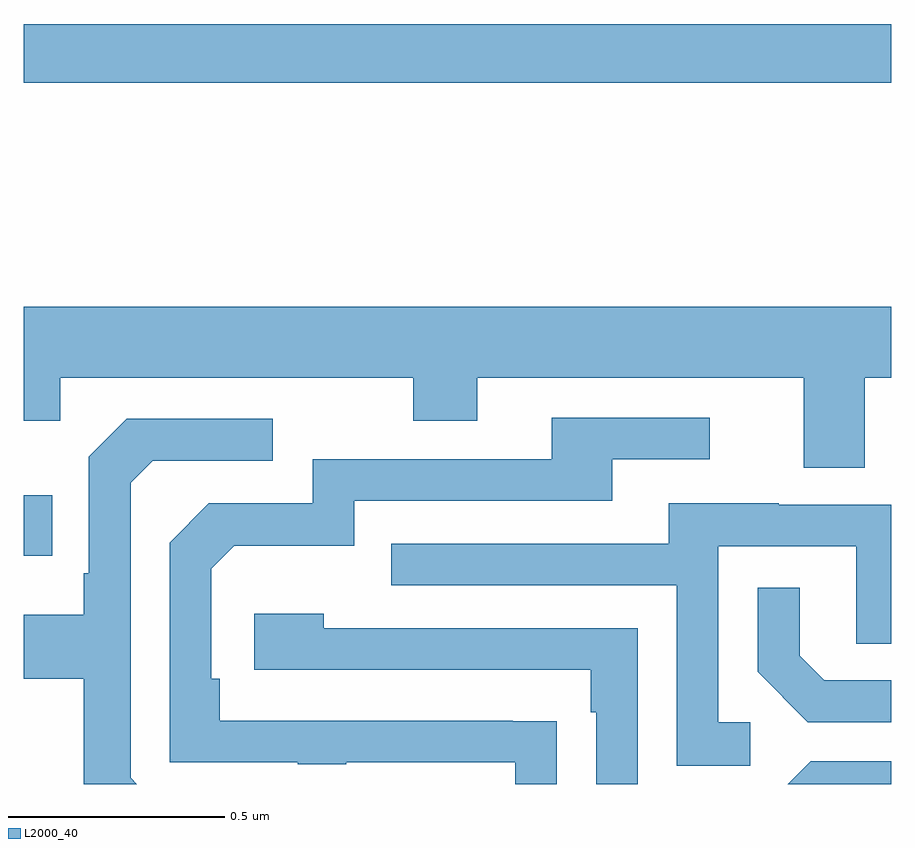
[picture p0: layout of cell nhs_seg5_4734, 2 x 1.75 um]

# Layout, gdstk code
import gdstk
lib = gdstk.Library(unit=1e-6, precision=1e-09)
def R(c, l, rs):  # rectangles x0, y0, x1, y1
    for r in rs: c.add(gdstk.rectangle(r[:2], r[2:], *l))
def P(c, l, *ps):  # polygons
    for p in ps: c.add(gdstk.Polygon(p, *l))
L2000_40 = (2000, 40)

nhs_seg5_4734 = lib.new_cell('nhs_seg5_4734')
R(nhs_seg5_4734, L2000_40, [(174,880.325,174.065,880.465), (174,881.416,176,881.552)])
P(nhs_seg5_4734, L2000_40, [(175.939,880.736),(176,880.736),(176,880.9),(174,880.9),(174,880.637),(174.084,880.637),(174.084,880.736),(174.898,880.736),(174.898,880.637),(175.045,880.637),(175.045,880.736),(175.799,880.736),(175.799,880.528),(175.939,880.528)],
  [(175.229,879.944),(175.127,879.944),(175.127,879.945),(174.452,879.945),(174.452,880.042),(174.432,880.042),(174.432,880.296),(174.485,880.349),(174.762,880.349),(174.762,880.452),(175.357,880.452),(175.357,880.548),(175.582,880.548),(175.582,880.644),(175.217,880.644),(175.217,880.548),(174.666,880.548),(174.666,880.446),(174.426,880.446),(174.336,880.356),(174.336,879.849),(174.631,879.849),(174.631,879.844),(174.743,879.844),(174.743,879.849),(175.133,879.849),(175.133,879.799),(175.229,879.799)],
  [(174.246,879.813),(174.246,880.494),(174.297,880.545),(174.574,880.545),(174.574,880.641),(174.237,880.641),(174.15,880.554),(174.15,880.285),(174.138,880.285),(174.138,880.189),(174,880.189),(174,880.042),(174.138,880.042),(174.138,879.799),(174.26,879.799)],
  [(175.675,879.942),(175.602,879.942),(175.602,880.347),(175.92,880.347),(175.92,880.123),(176,880.123),(176,880.443),(175.741,880.443),(175.741,880.447),(175.487,880.447),(175.487,880.353),(174.847,880.353),(174.847,880.257),(175.506,880.257),(175.506,879.841),(175.675,879.841)],
  [(176,880.038),(175.846,880.038),(175.789,880.095),(175.789,880.252),(175.692,880.252),(175.692,880.058),(175.808,879.942),(176,879.942)],
  [(175.416,880.158),(174.692,880.158),(174.692,880.192),(174.531,880.192),(174.531,880.062),(175.307,880.062),(175.307,879.965),(175.32,879.965),(175.32,879.799),(175.416,879.799)],
  [(176,879.852),(175.815,879.852),(175.762,879.799),(176,879.799)])

lib.write_gds('nhs_seg5_4734.gds')
